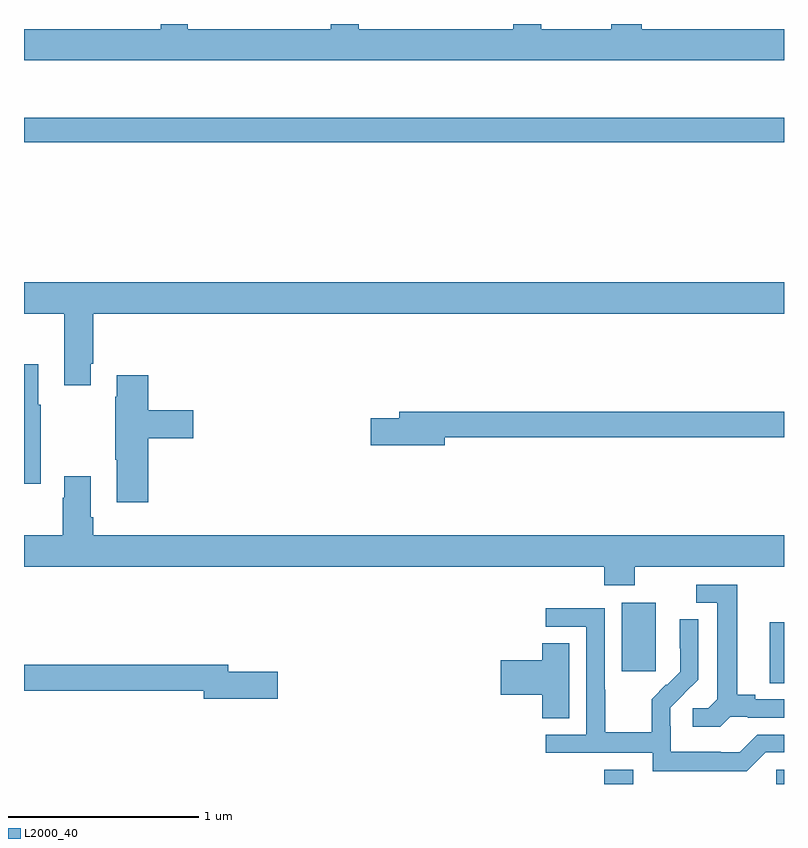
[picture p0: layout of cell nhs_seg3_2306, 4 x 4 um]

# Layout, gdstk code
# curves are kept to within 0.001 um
import gdstk
lib = gdstk.Library(unit=1e-6, precision=1e-09)
def R(c, l, rs):  # rectangles x0, y0, x1, y1
    for r in rs: c.add(gdstk.rectangle(r[:2], r[2:], *l))
def P(c, l, *ps):  # polygons
    for p in ps: c.add(gdstk.Polygon(p, *l))
L2000_40 = (2000, 40)

nhs_seg3_2306 = lib.new_cell('nhs_seg3_2306')
R(nhs_seg3_2306, L2000_40, [(232.055,738.4,232.207,738.475), (232.959,738.4,233,738.474), (232.925,738.931,233,739.251), (232.145,738.993,232.324,739.354), (229,741.778,233,741.907)])
P(nhs_seg3_2306, L2000_40, [(233,742.372),(232.25,742.372),(232.25,742.4),(232.09,742.4),(232.09,742.372),(231.723,742.372),(231.723,742.4),(231.576,742.4),(231.576,742.372),(230.763,742.372),(230.763,742.4),(230.615,742.4),(230.615,742.372),(229.861,742.372),(229.861,742.4),(229.721,742.4),(229.721,742.372),(229,742.372),(229,742.208),(233,742.208)],
  [(229.351,740.611),(229.364,740.611),(229.364,740.876),(233,740.876),(233,741.04),(229,741.04),(229,740.876),(229.211,740.876),(229.211,740.499),(229.351,740.499)],
  [(229.087,740.395),(229.075,740.395),(229.075,740.608),(229,740.608),(229,739.979),(229.087,739.979)],
  [(229.655,740.219),(229.891,740.219),(229.891,740.366),(229.655,740.366),(229.655,740.551),(229.487,740.551),(229.487,740.438),(229.48,740.438),(229.48,740.107),(229.487,740.107),(229.487,739.884),(229.655,739.884)],
  [(231.214,740.224),(233,740.224),(233,740.36),(230.975,740.36),(230.975,740.324),(230.826,740.324),(230.826,740.182),(231.214,740.182)],
  [(232.215,739.544),(233,739.544),(233,739.708),(229.364,739.708),(229.364,739.804),(229.351,739.804),(229.351,740.02),(229.211,740.02),(229.211,739.907),(229.204,739.907),(229.204,739.708),(229,739.708),(229,739.544),(232.055,739.544),(232.055,739.445),(232.215,739.445)],
  [(232.716,738.753),(232.81,738.753),(232.81,738.75),(233,738.75),(233,738.846),(232.849,738.846),(232.849,738.869),(232.753,738.869),(232.753,739.449),(232.539,739.449),(232.539,739.353),(232.649,739.353),(232.649,738.845),(232.602,738.798),(232.521,738.798),(232.521,738.701),(232.664,738.701)],
  [(232.905,738.567),(233,738.567),(233,738.66),(232.86,738.66),(232.767,738.567),(232.667,738.567),(232.667,738.571),(232.404,738.571),(232.404,738.705),(232.402,738.705),(232.402,738.802),(232.548,738.95),(232.548,739.268),(232.452,739.268),(232.452,739.114),(232.454,739.114),(232.454,738.992),(232.383,738.921),(232.38,738.924),(232.303,738.847),(232.303,738.673),(232.059,738.673),(232.059,738.896),(232.056,738.896),(232.056,739.326),(231.747,739.326),(231.747,739.227),(231.96,739.227),(231.96,738.66),(231.747,738.66),(231.747,738.564),(232.308,738.564),(232.308,738.467),(232.805,738.467)],
  [(231.871,739.142),(231.728,739.142),(231.728,739.052),(231.51,739.052),(231.51,738.869),(231.728,738.869),(231.728,738.745),(231.871,738.745)],
  [(230.335,738.992),(230.074,738.992),(230.074,739.028),(229,739.028),(229,738.892),(229.946,738.892),(229.946,738.85),(230.335,738.85)])

lib.write_gds('nhs_seg3_2306.gds')
